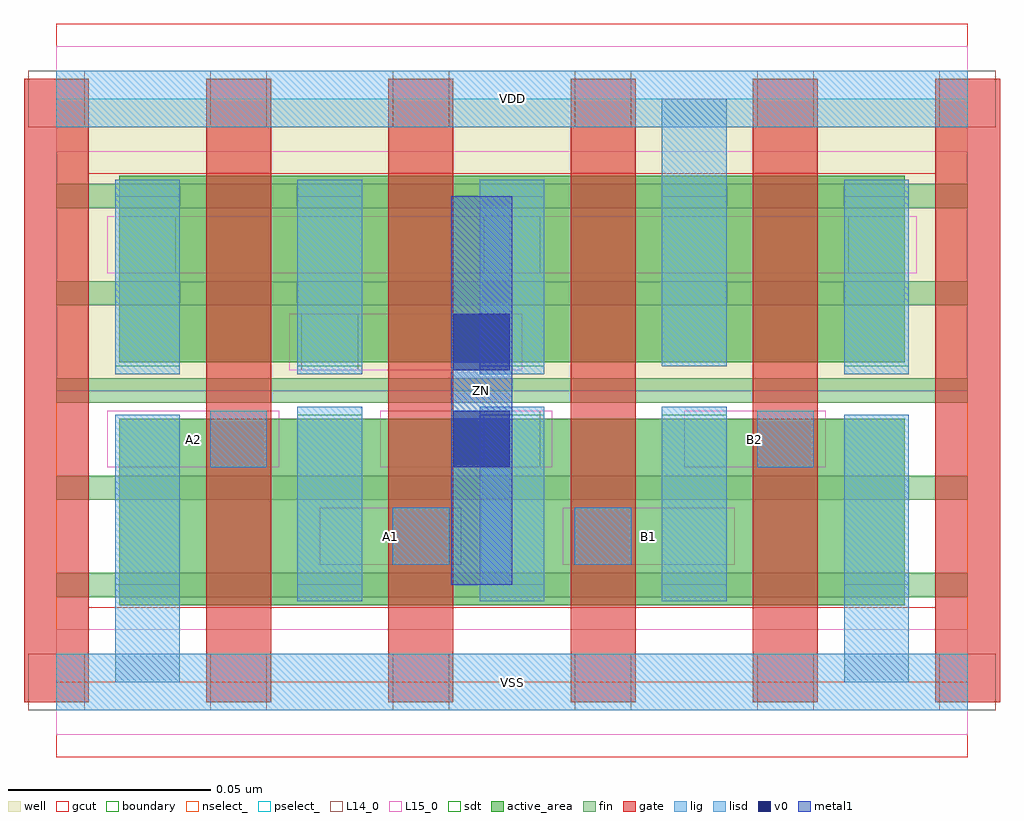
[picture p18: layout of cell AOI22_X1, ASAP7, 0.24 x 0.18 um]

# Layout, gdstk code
import gdstk
lib = gdstk.Library(unit=1e-6, precision=2.5e-10)
def R(c, l, rs):  # rectangles x0, y0, x1, y1
    for r in rs: c.add(gdstk.rectangle(r[:2], r[2:], *l))
def A(c, l, x, y, w, h, nx, ny, dx, dy):  # array of equal rectangles
    R(c, l, [(x+i*dx, y+j*dy, x+i*dx+w, y+j*dy+h) for i in range(nx) for j in range(ny)])
well = (1, 0)
fin = (2, 0)
gate = (7, 0)
gcut = (10, 0)
active_area = (11, 0)
nselect_ = (12, 0)
pselect_ = (13, 0)
L14_0 = (14, 0)
L15_0 = (15, 0)
lig = (16, 0)
lisd = (17, 0)
v0 = (18, 0)
metal1 = (19, 0)
sdt = (88, 0)
boundary = (100, 0)

aoi22_x1 = lib.new_cell('AOI22_X1')
R(aoi22_x1, well, [(0,0.072,0.225,0.144)])
A(aoi22_x1, fin, 0, 0.021, 0.225, 0.006, 1, 5, 0, 0.024)
A(aoi22_x1, gate, -0.008, -0.005, 0.016, 0.154, 6, 1, 0.045, 0)
R(aoi22_x1, gcut, [(0,-0.0185,0.225,0.0185), (-0.008,-0.005,0.008,0.149), (0.217,-0.005,0.233,0.149), (0,0.1255,0.225,0.1625)])
A(aoi22_x1, active_area, 0.0155, 0.019, 0.059, 0.046, 4, 2, 0.045, 0.06)
R(aoi22_x1, nselect_, [(0,0,0.225,0.072)])
R(aoi22_x1, pselect_, [(0,0.072,0.225,0.144)])
A(aoi22_x1, L14_0, -0.007, -0.007, 0.014, 0.014, 6, 2, 0.045, 0.144)
A(aoi22_x1, L14_0, 0.038, 0.053, 0.014, 0.014, 3, 1, 0.0675, 0)
A(aoi22_x1, L14_0, 0.0155, 0.101, 0.014, 0.014, 3, 1, 0.09, 0)
R(aoi22_x1, L14_0, [(0.083,0.029,0.097,0.043), (0.128,0.029,0.142,0.043), (0.0605,0.077,0.0745,0.091)])
R(aoi22_x1, L15_0, [(0,-0.013,0.225,0.013), (0.065,0.029,0.1,0.043), (0.125,0.029,0.1675,0.043), (0.0125,0.053,0.055,0.067), (0.08,0.053,0.1225,0.067), (0.155,0.053,0.19,0.067), (0.0575,0.077,0.115,0.091), (0.0125,0.101,0.2125,0.115), (0,0.131,0.225,0.157)])
R(aoi22_x1, lig, [(0,-0.007,0.225,0.007), (0.083,0.029,0.097,0.043), (0.128,0.029,0.142,0.043), (0.038,0.053,0.052,0.067), (0.173,0.053,0.187,0.067), (0,0.137,0.225,0.151)])
R(aoi22_x1, lisd, [(0.0145,0,0.0305,0.066), (0.1945,0,0.2105,0.066), (0.0595,0.02,0.0755,0.068), (0.0595,0.02,0.0755,0.068), (0.1045,0.02,0.1205,0.068), (0.1045,0.02,0.1205,0.068), (0.1495,0.02,0.1655,0.068), (0.1495,0.02,0.1655,0.068), (0.0145,0.076,0.0305,0.124), (0.0595,0.076,0.0755,0.124), (0.0595,0.076,0.0755,0.124), (0.1045,0.076,0.1205,0.124), (0.1045,0.076,0.1205,0.124), (0.1945,0.076,0.2105,0.124), (0.1495,0.078,0.1655,0.144), (0.1495,0.078,0.1655,0.144)])
R(aoi22_x1, v0, [(0.098,0.053,0.112,0.067), (0.098,0.077,0.112,0.091)])
R(aoi22_x1, metal1, [(0.0975,0.024,0.1125,0.12)])
R(aoi22_x1, sdt, [(0.0145,0.024,0.0305,0.066), (0.0595,0.024,0.0755,0.066), (0.0595,0.024,0.0755,0.066), (0.1045,0.024,0.1205,0.066), (0.1045,0.024,0.1205,0.066), (0.1495,0.024,0.1655,0.066), (0.1495,0.024,0.1655,0.066), (0.1945,0.024,0.2105,0.066), (0.0145,0.078,0.0305,0.12), (0.0595,0.078,0.0755,0.12), (0.0595,0.078,0.0755,0.12), (0.1045,0.078,0.1205,0.12), (0.1045,0.078,0.1205,0.12), (0.1495,0.078,0.1655,0.12), (0.1495,0.078,0.1655,0.12), (0.1945,0.078,0.2105,0.12)])
R(aoi22_x1, boundary, [(0,0,0.225,0.144)])
aoi22_x1.add(gdstk.Label('VDD', (0.1125,0.144), layer=1, texttype=251))
aoi22_x1.add(gdstk.Label('VSS', (0.1125,0), layer=3, texttype=251))
aoi22_x1.add(gdstk.Label('A2', (0.0338,0.06), layer=15, texttype=251))
aoi22_x1.add(gdstk.Label('A1', (0.0825,0.036), layer=15, texttype=251))
aoi22_x1.add(gdstk.Label('B1', (0.1462,0.036), layer=15, texttype=251))
aoi22_x1.add(gdstk.Label('B2', (0.1725,0.06), layer=15, texttype=251))
aoi22_x1.add(gdstk.Label('VSS', (0.1125,0), layer=15, texttype=251))
aoi22_x1.add(gdstk.Label('VDD', (0.1125,0.144), layer=15, texttype=251))
aoi22_x1.add(gdstk.Label('ZN', (0.105,0.072), layer=19, texttype=251))

lib.write_gds('AOI22_X1.gds')
